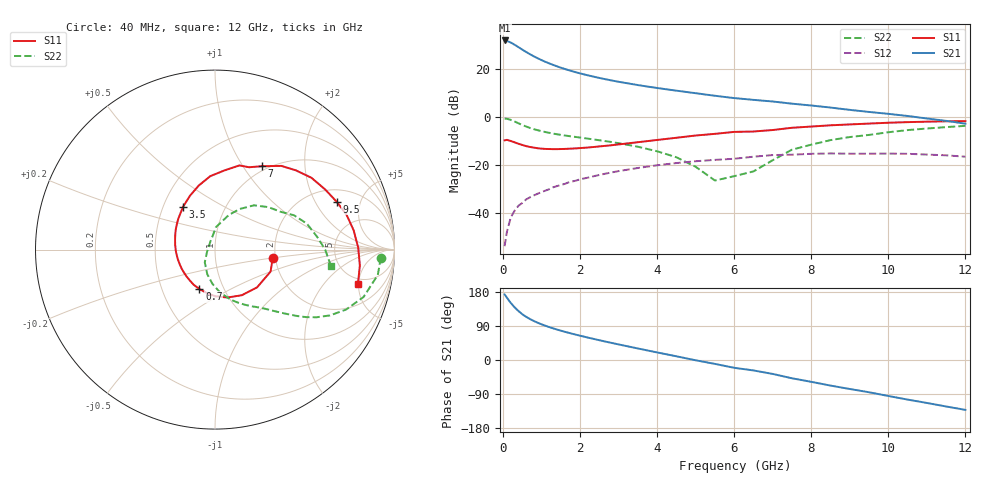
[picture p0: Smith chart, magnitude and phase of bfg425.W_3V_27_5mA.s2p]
! Filename: 327bfg425.001
! BFG425W Field C1
! V1=8.531E-001V,V2=3.000E+000V, I1=3.718E-004A, I2=2.752E-002A
# GHz  S  MA  R 50
!  S11  S21  S12  S22
!Freq(GHz)  Mag  Ang  Mag  Ang  Mag  Ang  Mag  Ang
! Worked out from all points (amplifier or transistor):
!   44 points, 40 MHz to 12 GHz, reference 50 ohm
!   highest |S21| = 32.0 dB at 40 MHz (marker M1)
!   |S21| within 3 dB of that: start of sweep to 418.9 MHz
!   unconditionally stable (mu >= 1): 1.116 GHz to end of sweep
!   at 700 MHz: K = 0.82, MSG = 29.9 dB, |S12| = -33.6 dB
!   at 2.4 GHz: K = 1.16, MAG = 18.2 dB, |S12| = -24.6 dB
!   at 12 GHz: K = 1.35, MAG = 3.4 dB, |S12| = -16.6 dB
!   S11 on the Smith chart (normalised r, x): 40 MHz: 1.93, -0.20; 700 MHz: 0.77, -0.36; 3.5 GHz: 0.63, +0.33; 7 GHz: 0.94, +1.22; 9.5 GHz: 2.67, +3.04; 12 GHz: 4.23, -4.90
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0.04  0.325 -8.3  39.67 173.0  0.002 62.8  0.925 -2.8
0.1  0.333 -21.5  38.71 164.4  0.004 81.7  0.918 -8.8
0.2  0.315 -41.8  35.92 150.5  0.008 75.8  0.869 -17.7
0.3  0.295 -59.5  32.26 139.0  0.011 71.9  0.803 -24.6
0.4  0.276 -75.4  28.72 129.1  0.014 69.0  0.738 -29.8
0.5  0.26 -89.4  25.52 120.7  0.016 66.7  0.68 -33.7
0.6  0.246 -101.2  22.77 113.8  0.019 65.2  0.631 -36.6
0.7  0.236 -111.5  20.44 108.1  0.021 64.2  0.59 -38.9
0.9  0.222 -129.2  16.82 98.3  0.025 62.8  0.528 -42.4
1.2  0.214 -149.6  13.14 86.8  0.031 60.9  0.466 -46.8
1.6  0.215 -170.8  10.08 74.6  0.04 57.9  0.411 -52.1
2.2  0.23 165.2  7.417 59.2  0.054 52.0  0.353 -60.9
2.8  0.256 145.9  5.829 45.5  0.069 44.8  0.301 -70.7
3.5  0.297 127.0  4.639 30.4  0.086 35.2  0.239 -83.6
4.5  0.368 104.3  3.544 9.8  0.109 20.2  0.144 -107.3
5.5  0.444 83.3  2.773 -10.3  0.127 4.5  0.047 -162.4
6.5  0.497 67.4  2.277 -27.6  0.148 -8.0  0.073 101.7
7  0.534 60.5  2.105 -36.8  0.16 -15.7  0.125 87.8
8.5  0.67 36.7  1.573 -67.6  0.173 -45.0  0.329 48.6
9.5  0.728 21.6  1.274 -85.1  0.171 -61.6  0.422 29.9
10.5  0.78 7.9  1.049 -104.5  0.17 -80.2  0.532 15.8
12  0.819 -13.5  0.724 -131.6  0.148 -109.9  0.653 -8.2
